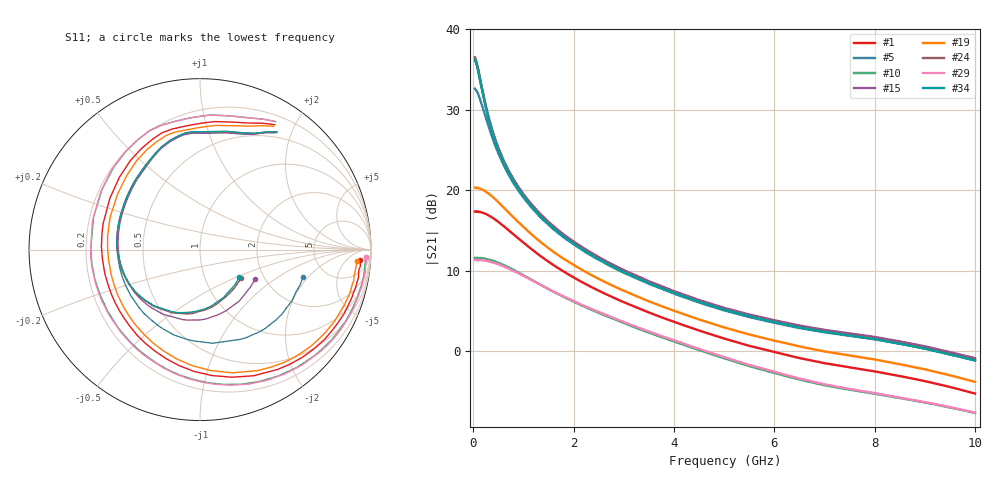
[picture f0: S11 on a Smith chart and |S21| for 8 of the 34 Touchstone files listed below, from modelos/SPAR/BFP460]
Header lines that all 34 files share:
! Infineon Technologies  Discrete & RF Semiconductors
! BFP460
! Common Emitter S-Parameters:  Jan 2016
# GHz  S  MA  R  50
!  f  S11  S21  S12  S22
! GHz  MAG  ANG  MAG  ANG  MAG  ANG  MAG  ANG
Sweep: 30 MHz to 10 GHz
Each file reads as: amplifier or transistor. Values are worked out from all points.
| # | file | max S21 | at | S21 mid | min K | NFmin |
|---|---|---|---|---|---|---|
| 1 | BFP460_w_noise_VCE_1.5V_IC_2.0mA.s2p | 17.4 dB | 70 MHz | 9.9 dB at 1.78 GHz | 0.00 | 0.68 dB |
| 2 | BFP460_w_noise_VCE_1.5V_IC_5.0mA.s2p | 24.3 dB | 30 MHz | 12.6 dB at 1.78 GHz | 0.05 | 0.78 dB |
| 3 | BFP460_w_noise_VCE_1.5V_IC_12mA.s2p | 30.3 dB | 30 MHz | 13.9 dB at 1.78 GHz | 0.10 | 1.03 dB |
| 4 | BFP460_w_noise_VCE_1.5V_IC_14mA.s2p | 31.2 dB | 30 MHz | 14.0 dB at 1.78 GHz | 0.11 | 1.09 dB |
| 5 | BFP460_w_noise_VCE_1.5V_IC_18mA.s2p | 32.6 dB | 30 MHz | 14.2 dB at 1.78 GHz | 0.14 | 1.13 dB |
| 6 | BFP460_w_noise_VCE_1.5V_IC_20mA.s2p | 33.2 dB | 30 MHz | 14.3 dB at 1.78 GHz | 0.16 | 1.24 dB |
| 7 | BFP460_w_noise_VCE_1.5V_IC_35mA.s2p | 35.5 dB | 30 MHz | 14.4 dB at 1.78 GHz | 0.24 | 1.56 dB |
| 8 | BFP460_w_noise_VCE_1.5V_IC_45mA.s2p | 36.1 dB | 30 MHz | 14.2 dB at 1.78 GHz | 0.29 | 1.72 dB |
| 9 | BFP460_w_noise_VCE_1.5V_IC_60mA.s2p | 36.1 dB | 30 MHz | 13.4 dB at 1.78 GHz | 0.40 | 1.86 dB |
| 10 | BFP460_w_noise_VCE_2.0V_IC_1.0mA.s2p | 11.6 dB | 70 MHz | 6.8 dB at 1.78 GHz | 0.01 | 0.69 dB |
| 11 | BFP460_w_noise_VCE_2.0V_IC_2.0mA.s2p | 17.3 dB | 70 MHz | 10.0 dB at 1.78 GHz | 0.02 | 0.68 dB |
| 12 | BFP460_w_noise_VCE_2.0V_IC_6.0mA.s2p | 25.6 dB | 30 MHz | 13.2 dB at 1.78 GHz | 0.05 | 0.83 dB |
| 13 | BFP460_w_noise_VCE_2.0V_IC_20mA.s2p | 33.2 dB | 30 MHz | 14.5 dB at 1.78 GHz | 0.15 | 1.24 dB |
| 14 | BFP460_w_noise_VCE_2.0V_IC_25mA.s2p | 34.2 dB | 30 MHz | 14.6 dB at 1.78 GHz | 0.18 | 1.36 dB |
| 15 | BFP460_w_noise_VCE_2.0V_IC_45mA.s2p | 36.2 dB | 30 MHz | 14.6 dB at 1.78 GHz | 0.27 | 1.72 dB |
| 16 | BFP460_w_noise_VCE_2.0V_IC_50mA.s2p | 36.3 dB | 30 MHz | 14.5 dB at 1.78 GHz | 0.30 | 1.78 dB |
| 17 | BFP460_w_noise_VCE_2.5V_IC_1.0mA.s2p | 11.3 dB | 70 MHz | 6.7 dB at 1.78 GHz | 0.01 | 0.69 dB |
| 18 | BFP460_w_noise_VCE_2.5V_IC_2.0mA.s2p | 17.0 dB | 70 MHz | 10.1 dB at 1.78 GHz | 0.01 | 0.68 dB |
| 19 | BFP460_w_noise_VCE_2.5V_IC_3.0mA.s2p | 20.3 dB | 70 MHz | 11.5 dB at 1.78 GHz | 0.03 | 0.71 dB |
| 20 | BFP460_w_noise_VCE_2.5V_IC_10mA.s2p | 29.1 dB | 30 MHz | 14.1 dB at 1.78 GHz | 0.08 | 0.95 dB |
| 21 | BFP460_w_noise_VCE_2.5V_IC_12mA.s2p | 30.3 dB | 30 MHz | 14.3 dB at 1.78 GHz | 0.09 | 1.03 dB |
| 22 | BFP460_w_noise_VCE_2.5V_IC_18mA.s2p | 32.6 dB | 30 MHz | 14.6 dB at 1.78 GHz | 0.13 | 1.13 dB |
| 23 | BFP460_w_noise_VCE_2.5V_IC_25mA.s2p | 34.2 dB | 30 MHz | 14.8 dB at 1.78 GHz | 0.17 | 1.36 dB |
| 24 | BFP460_w_noise_VCE_2.5V_IC_60mA.s2p | 36.5 dB | 30 MHz | 14.4 dB at 1.78 GHz | 0.32 | 1.86 dB |
| 25 | BFP460_w_noise_VCE_2.5V_IC_70mA.s2p | 36.3 dB | 30 MHz | 13.8 dB at 1.78 GHz | 0.39 | 2.03 dB |
| 26 | BFP460_w_noise_VCE_3.0V_IC_3.0mA.s2p | 20.3 dB | 30 MHz | 11.6 dB at 1.78 GHz | 0.02 | 0.71 dB |
| 27 | BFP460_w_noise_VCE_3.0V_IC_6.0mA.s2p | 25.6 dB | 30 MHz | 13.4 dB at 1.78 GHz | 0.06 | 0.83 dB |
| 28 | BFP460_w_noise_VCE_3.0V_IC_60mA.s2p | 36.5 dB | 30 MHz | 14.6 dB at 1.78 GHz | 0.31 | 1.86 dB |
| 29 | BFP460_w_noise_VCE_4.0V_IC_1.0mA.s2p | 11.3 dB | 70 MHz | 6.8 dB at 1.78 GHz | 0.01 | 0.69 dB |
| 30 | BFP460_w_noise_VCE_4.0V_IC_2.0mA.s2p | 17.0 dB | 70 MHz | 10.2 dB at 1.78 GHz | 0.04 | 0.68 dB |
| 31 | BFP460_w_noise_VCE_4.0V_IC_30mA.s2p | 34.7 dB | 30 MHz | 15.0 dB at 1.78 GHz | 0.22 | 1.47 dB |
| 32 | BFP460_w_noise_VCE_4.0V_IC_35mA.s2p | 35.2 dB | 30 MHz | 15.0 dB at 1.78 GHz | 0.23 | 1.56 dB |
| 33 | BFP460_w_noise_VCE_4.0V_IC_60mA.s2p | 36.3 dB | 30 MHz | 14.7 dB at 1.78 GHz | 0.30 | 1.86 dB |
| 34 | BFP460_w_noise_VCE_4.0V_IC_70mA.s2p | 36.2 dB | 30 MHz | 14.3 dB at 1.78 GHz | 0.34 | 2.03 dB |

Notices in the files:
10_Practicas_Laboratorio/LNA/modelos/SPAR/BFP460/BFP460_w_noise_VCE_1.5V_IC_12mA.s2p:
(c) 2016  Infineon Technologies AG, Munich
